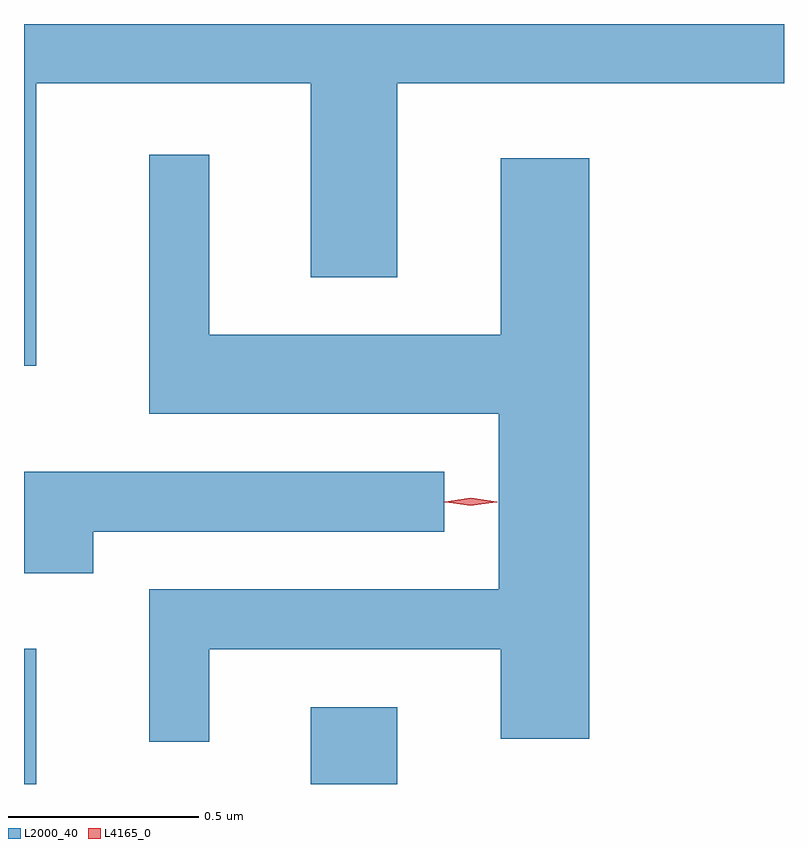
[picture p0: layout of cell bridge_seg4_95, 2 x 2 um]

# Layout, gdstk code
import gdstk
lib = gdstk.Library(unit=1e-6, precision=1e-09)
def R(c, l, rs):  # rectangles x0, y0, x1, y1
    for r in rs: c.add(gdstk.rectangle(r[:2], r[2:], *l))
def P(c, l, *ps):  # polygons
    for p in ps: c.add(gdstk.Polygon(p, *l))
L2000_40 = (2000, 40)
L4165_0 = (4165, 0)

bridge_seg4_95 = lib.new_cell('bridge_seg4_95')
R(bridge_seg4_95, L2000_40, [(982.127,1361.712,982.159,1362.068), (982.881,1361.712,983.109,1361.914)])
P(bridge_seg4_95, L2000_40, [(982.159,1363.556),(982.881,1363.556),(982.881,1363.046),(983.109,1363.046),(983.109,1363.556),(984.127,1363.556),(984.127,1363.712),(982.127,1363.712),(982.127,1362.813),(982.159,1362.813)],
  [(982.614,1362.066),(983.381,1362.066),(983.381,1361.831),(983.614,1361.831),(983.614,1363.359),(983.381,1363.359),(983.381,1362.894),(982.614,1362.894),(982.614,1363.368),(982.456,1363.368),(982.456,1362.686),(983.376,1362.686),(983.376,1362.224),(982.456,1362.224),(982.456,1361.823),(982.614,1361.823)],
  [(982.309,1362.376),(983.233,1362.376),(983.233,1362.534),(982.127,1362.534),(982.127,1362.266),(982.309,1362.266)])
P(bridge_seg4_95, L4165_0, [(983.303,1362.445),(983.234,1362.454),(983.233,1362.455),(983.234,1362.455),(983.303,1362.465),(983.372,1362.455),(983.372,1362.455),(983.372,1362.454)],
  [(983.303,1362.444),(983.238,1362.453),(983.237,1362.454),(983.238,1362.454),(983.303,1362.464),(983.369,1362.454),(983.37,1362.454),(983.369,1362.453)])

lib.write_gds('bridge_seg4_95.gds')
